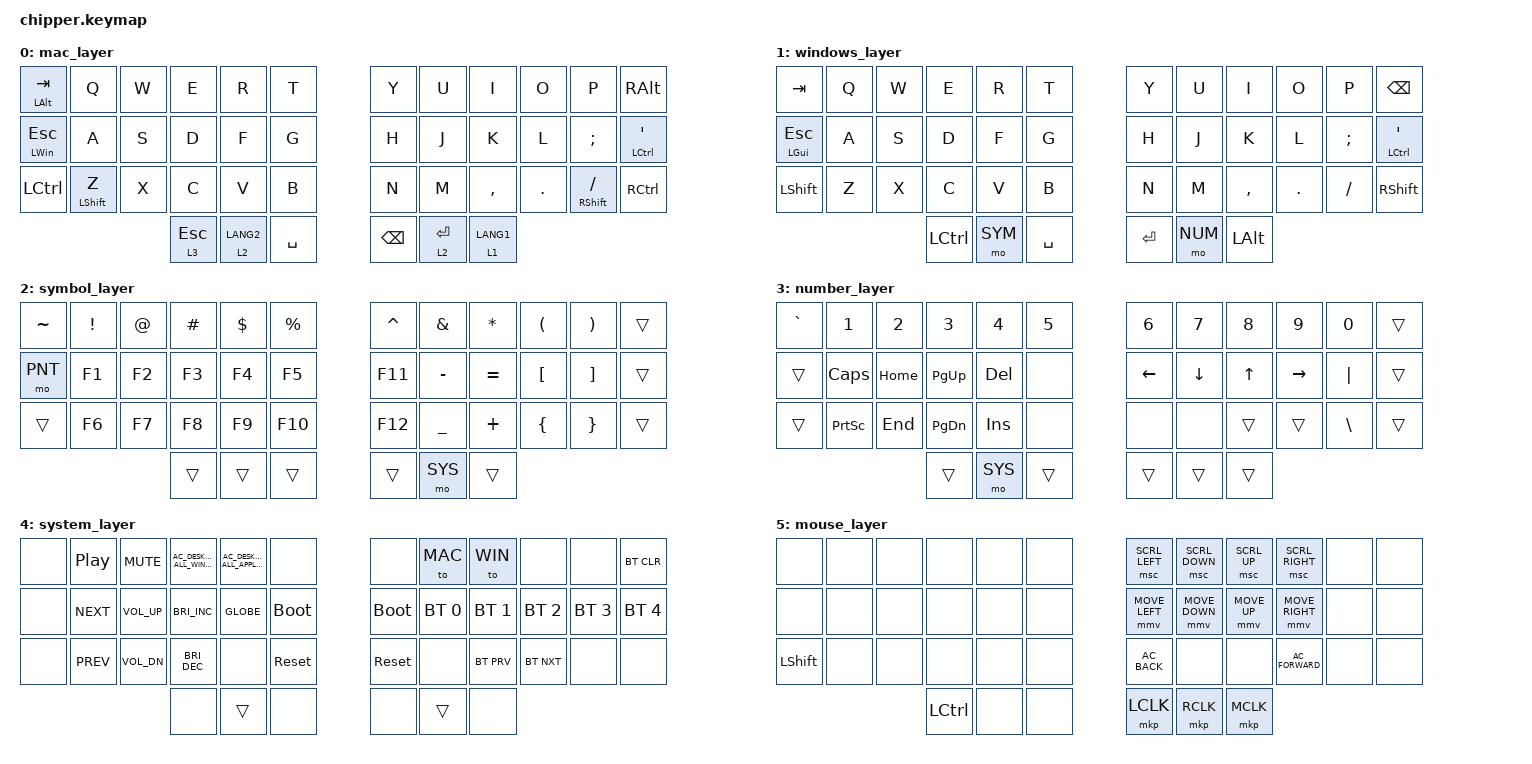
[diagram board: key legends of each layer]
#define ZMK_POINTING_DEFAULT_MOVE_VAL 1700 // default: 600
#define ZMK_POINTING_DEFAULT_SCRL_VAL 30  // default: 10

#include <behaviors.dtsi>
#include <dt-bindings/zmk/bt.h>
#include <dt-bindings/zmk/keys.h>
#include <dt-bindings/zmk/pointing.h>

#define MAC 0  // mac os
#define WIN 1  // windows os
#define SYM 2  // symbol & function
#define NUM 3  // number
#define SYS 4  // system such as media, bluetooth, bootloader, etc
#define PNT 5  // mouse

/ {
    keymap {
        compatible = "zmk,keymap";

        mac_layer {
            bindings = <
&mt LEFT_ALT TAB  &kp Q             &kp W  &kp E         &kp R        &kp T      &kp Y          &kp U         &kp I        &kp O    &kp P                  &kp RIGHT_ALT
&mt LEFT_WIN ESC  &kp A             &kp S  &kp D         &kp F        &kp G      &kp H          &kp J         &kp K        &kp L    &kp SEMI               &mt LCTRL SQT
&kp LCTRL         &mt LEFT_SHIFT Z  &kp X  &kp C         &kp V        &kp B      &kp N          &kp M         &kp COMMA    &kp DOT  &mt RIGHT_SHIFT SLASH  &kp RCTRL
                                           &lt 3 ESCAPE  &lt 2 LANG2  &kp SPACE  &kp BACKSPACE  &lt 2 RETURN  &lt 1 LANG1
            >;
        };

        windows_layer {
            bindings = <
&kp TAB       &kp Q  &kp W  &kp E      &kp R    &kp T      &kp Y    &kp U    &kp I      &kp O    &kp P     &kp BSPC
&mt LGUI ESC  &kp A  &kp S  &kp D      &kp F    &kp G      &kp H    &kp J    &kp K      &kp L    &kp SEMI  &mt LCTRL SQT
&kp LSHFT     &kp Z  &kp X  &kp C      &kp V    &kp B      &kp N    &kp M    &kp COMMA  &kp DOT  &kp FSLH  &kp RSHFT
                            &kp LCTRL  &mo SYM  &kp SPACE  &kp RET  &mo NUM  &kp LALT
            >;
        };

        symbol_layer {
            bindings = <
&kp TILDE  &kp EXCL  &kp AT  &kp HASH  &kp DLLR  &kp PRCNT  &kp CARET  &kp AMPS   &kp ASTRK  &kp LPAR  &kp RPAR  &trans
&mo PNT    &kp F1    &kp F2  &kp F3    &kp F4    &kp F5     &kp F11    &kp MINUS  &kp EQUAL  &kp LBKT  &kp RBKT  &trans
&trans     &kp F6    &kp F7  &kp F8    &kp F9    &kp F10    &kp F12    &kp UNDER  &kp PLUS   &kp LBRC  &kp RBRC  &trans
                             &trans    &trans    &trans     &trans     &mo SYS    &trans
            >;
        };

        number_layer {
            bindings = <
&kp GRAVE  &kp N1     &kp N2    &kp N3         &kp N4      &kp N5  &kp N6    &kp N7    &kp N8  &kp N9     &kp N0    &trans
&trans     &kp CAPS   &kp HOME  &kp PAGE_UP    &kp DELETE  &none   &kp LEFT  &kp DOWN  &kp UP  &kp RIGHT  &kp PIPE  &trans
&trans     &kp PSCRN  &kp END   &kp PAGE_DOWN  &kp INSERT  &none   &none     &none     &trans  &trans     &kp BSLH  &trans
                                &trans         &mo SYS     &trans  &trans    &trans    &trans
            >;
        };

        system_layer {
            bindings = <
&none  &kp C_PP    &kp C_MUTE    &kp C_AC_DESKTOP_SHOW_ALL_WINDOWS  &kp C_AC_DESKTOP_SHOW_ALL_APPLICATIONS  &none        &none        &to MAC       &to WIN       &none         &none         &bt BT_CLR
&none  &kp C_NEXT  &kp C_VOL_UP  &kp C_BRI_INC                      &kp GLOBE                               &bootloader  &bootloader  &bt BT_SEL 0  &bt BT_SEL 1  &bt BT_SEL 2  &bt BT_SEL 3  &bt BT_SEL 4
&none  &kp C_PREV  &kp C_VOL_DN  &kp C_BRI_DEC                      &none                                   &sys_reset   &sys_reset   &none         &bt BT_PRV    &bt BT_NXT    &none         &none
                                 &none                              &trans                                  &none        &none        &trans        &none
            >;
        };

        mouse_layer {
            bindings = <
&none      &none  &none  &none      &none  &none  &msc SCRL_LEFT  &msc SCRL_DOWN  &msc SCRL_UP  &msc SCRL_RIGHT   &none  &none
&none      &none  &none  &none      &none  &none  &mmv MOVE_LEFT  &mmv MOVE_DOWN  &mmv MOVE_UP  &mmv MOVE_RIGHT   &none  &none
&kp LSHFT  &none  &none  &none      &none  &none  &kp C_AC_BACK   &none           &none         &kp C_AC_FORWARD  &none  &none
                         &kp LCTRL  &none  &none  &mkp LCLK       &mkp RCLK       &mkp MCLK
            >;
        };
    };
};
